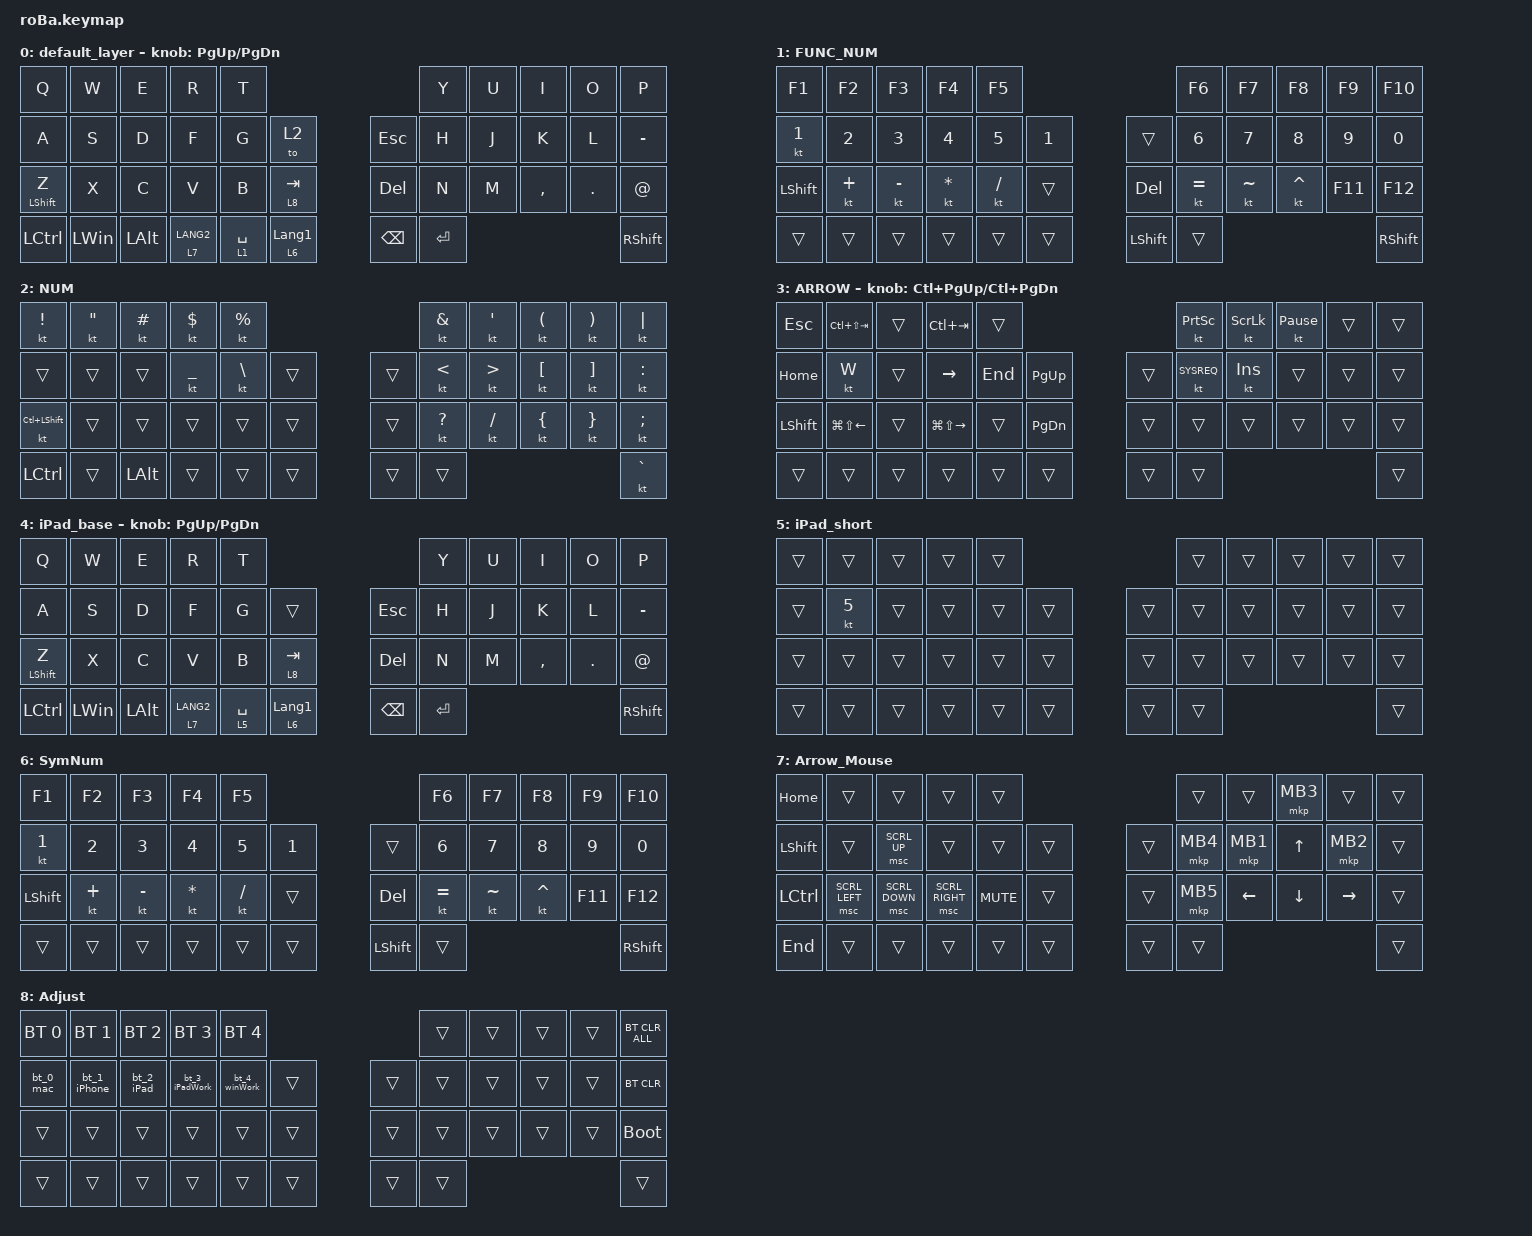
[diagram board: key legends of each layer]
#include <behaviors.dtsi>
#include <dt-bindings/zmk/bt.h>
#include <dt-bindings/zmk/keys.h>
#include <dt-bindings/zmk/pointing.h>

#define MOUSE 4
#define SCROLL 5
#define NUM 6

// OS設定を日本語キーボードのまま使用するための変換定義

#define JP_DQUOTE       AT                // "
#define JP_AMPERSAND    CARET             // &
#define JP_QUOTE        AMPERSAND         // '
#define JP_EQUAL        UNDER             // =
#define JP_CARET        EQUAL             // ^
#define JP_YEN          0x89              // ¥
#define JP_PLUS         COLON             // +
#define JP_TILDE        PLUS              // ~
#define JP_PIPE         LS(0x89)          // |
#define JP_AT           LEFT_BRACKET      // @
#define JP_COLON        SINGLE_QUOTE      // :
#define JP_ASTERISK     DOUBLE_QUOTES     // *
#define JP_BACKQUOTE    LEFT_BRACE        // `
#define JP_UNDERSCORE   LS(0x87)          // _
#define JP_LBRACKET     RIGHT_BRACKET     // [
#define JP_RBRACKET     BACKSLASH         // ]
#define JP_LPAREN       ASTERISK          // (
#define JP_RPAREN       LEFT_PARENTHESIS  // )
#define JP_LBRACE       RIGHT_BRACE       // {
#define JP_RBRACE       PIPE              // }
#define JP_KANA         LANGUAGE_1        // かな
#define JP_EISU         LANGUAGE_2        // 英数
#define JP_HANZEN       GRAVE             // 半角/全角

&mt {
    flavor = "balanced";
    quick-tap-ms = <0>;
};

/ {
    combos {
        compatible = "zmk,combos";

        tab {
            bindings = <&kp TAB>;
            key-positions = <11 12>;
        };

        shift_tab {
            bindings = <&kp LS(TAB)>;
            key-positions = <12 13>;
        };

        muhennkann {
            bindings = <&to_layer_0 INT_MUHENKAN>;
            key-positions = <11 10>;
        };

        double_quotation {
            bindings = <&kp DOUBLE_QUOTES>;
            key-positions = <20 21>;
        };

        eq {
            bindings = <&kp EQUAL>;
            key-positions = <24 25>;
        };

        nihongo {
            bindings = <&kp GRAVE>;
            key-positions = <39 37>;
        };
    };

    macros {
        to_layer_0: to_layer_0 {
            compatible = "zmk,behavior-macro-one-param";
            #binding-cells = <1>;
            bindings = <&to 0 &macro_param_1to1 &kp MACRO_PLACEHOLDER>;
            label = "TO_LAYER_0";
        };

        bt_0_mac: bt_0_mac {
            compatible = "zmk,behavior-macro";
            #binding-cells = <0>;
            bindings = <&bt BT_SEL 0>, <&macro_wait_time 200>, <&to 0>;

            label = "BT_0_MAC";
        };

        bt_1_iPhone: bt_1_iPhone {
            compatible = "zmk,behavior-macro";
            #binding-cells = <0>;
            bindings = <&bt BT_SEL 1>, <&macro_wait_time 200>, <&to 4>;

            label = "BT_1_IPHONE";
        };

        bt_2_iPad: bt_2_iPad {
            compatible = "zmk,behavior-macro";
            #binding-cells = <0>;
            bindings = <&bt BT_SEL 2>, <&macro_wait_time 200>, <&to 4>;

            label = "BT_2_IPAD";
        };

        bt_3_iPadWork: bt_3_iPad {
            compatible = "zmk,behavior-macro";
            #binding-cells = <0>;
            bindings = <&bt BT_SEL 3>, <&macro_wait_time 200>, <&to 4>;

            label = "BT_3_IPAD";
        };

        bt_4_winWork: bt_4_winWork {
            compatible = "zmk,behavior-macro";
            #binding-cells = <0>;
            bindings = <&bt BT_SEL 4>, <&macro_wait_time 200>, <&to 2>;

            label = "BT_4_WINWORK";
        };
    };

    behaviors {
        lt_to_layer_0: lt_to_layer_0 {
            compatible = "zmk,behavior-hold-tap";
            label = "LAYER_TAP_TO_0";
            bindings = <&mo>, <&to_layer_0>;

            #binding-cells = <2>;
            tapping-term-ms = <200>;
        };
    };

    keymap {
        compatible = "zmk,keymap";

        default_layer {
            bindings = <
&kp Q             &kp W         &kp E         &kp R                   &kp T                                                        &kp Y      &kp U  &kp I      &kp O    &kp P
&kp A             &kp S         &kp D         &kp F                   &kp G        &to 2                            &kp ESCAPE     &kp H      &kp J  &kp K      &kp L    &kp MINUS
&mt LEFT_SHIFT Z  &kp X         &kp C         &kp V                   &kp B        &lt 8 TAB                        &kp DELETE     &kp N      &kp M  &kp COMMA  &kp DOT  &kp AT_SIGN
&kp LCTRL         &kp LEFT_WIN  &kp LEFT_ALT  &lt_to_layer_0 7 LANG2  &lt 1 SPACE  &lt_to_layer_0 6 LANGUAGE_1      &kp BACKSPACE  &kp ENTER                             &kp RIGHT_SHIFT
            >;

            sensor-bindings = <&inc_dec_kp PG_UP PAGE_DOWN>;
        };

        FUNC_NUM {
            bindings = <
&kp F1          &kp F2        &kp F3        &kp F4        &kp F5                                       &kp F6        &kp F7     &kp F8     &kp F9   &kp F10
&kt NUMBER_1    &kp NUMBER_2  &kp NUMBER_3  &kp NUMBER_4  &kp N5     &kp NUMBER_1      &trans          &kp NUMBER_6  &kp N7     &kp N8     &kp N9   &kp N0
&kp LEFT_SHIFT  &kt PLUS      &kt MINUS     &kt ASTERISK  &kt SLASH  &trans            &kp DEL         &kt EQUAL     &kt TILDE  &kt CARET  &kp F11  &kp F12
&trans          &trans        &trans        &trans        &trans     &trans            &kp LEFT_SHIFT  &trans                                       &kp RIGHT_SHIFT
            >;
        };

        NUM {
            bindings = <
&kt EXCLAMATION     &kt DOUBLE_QUOTES  &kt HASH      &kt DOLLAR      &kt PERCENT                        &kt AMPERSAND  &kt SQT           &kt LEFT_PARENTHESIS  &kt RIGHT_PARENTHESIS  &kt PIPE
&trans              &trans             &trans        &kt UNDERSCORE  &kt BACKSLASH  &trans      &trans  &kt LESS_THAN  &kt GREATER_THAN  &kt LEFT_BRACKET      &kt RIGHT_BRACKET      &kt COLON
&kt LC(LEFT_SHIFT)  &trans             &trans        &trans          &trans         &trans      &trans  &kt QUESTION   &kt SLASH         &kt LEFT_BRACE        &kt RIGHT_BRACE        &kt SEMICOLON
&kp LCTRL           &trans             &kp LEFT_ALT  &trans          &trans         &trans      &trans  &trans                                                                        &kt GRAVE
            >;
        };

        ARROW {
            bindings = <
&kp ESCAPE      &kp LC(LS(TAB))         &trans  &kp LC(TAB)              &trans                              &kt PRINTSCREEN  &kt SCROLLLOCK  &kt PAUSE_BREAK  &trans  &trans
&kp HOME        &kt W                   &trans  &kp RIGHT_ARROW          &kp END  &kp PAGE_UP        &trans  &kt SYSREQ       &kt INS         &trans           &trans  &trans
&kp LEFT_SHIFT  &kp LG(LS(LEFT_ARROW))  &trans  &kp LG(LS(RIGHT_ARROW))  &trans   &kp PAGE_DOWN      &trans  &trans           &trans          &trans           &trans  &trans
&trans          &trans                  &trans  &trans                   &trans   &trans             &trans  &trans                                                    &trans
            >;

            sensor-bindings = <&inc_dec_kp LC(PAGE_UP) LC(PAGE_DOWN)>;
        };

        iPad_base {
            bindings = <
&kp Q             &kp W         &kp E         &kp R                   &kp T                                                        &kp Y      &kp U  &kp I      &kp O    &kp P
&kp A             &kp S         &kp D         &kp F                   &kp G        &trans                           &kp ESCAPE     &kp H      &kp J  &kp K      &kp L    &kp MINUS
&mt LEFT_SHIFT Z  &kp X         &kp C         &kp V                   &kp B        &lt 8 TAB                        &kp DELETE     &kp N      &kp M  &kp COMMA  &kp DOT  &kp AT_SIGN
&kp LCTRL         &kp LEFT_WIN  &kp LEFT_ALT  &lt_to_layer_0 7 LANG2  &lt 5 SPACE  &lt_to_layer_0 6 LANGUAGE_1      &kp BACKSPACE  &kp ENTER                             &kp RIGHT_SHIFT
            >;

            sensor-bindings = <&inc_dec_kp PG_UP PAGE_DOWN>;
        };

        iPad_short {
            bindings = <
&trans  &trans        &trans  &trans  &trans                      &trans  &trans  &trans  &trans  &trans
&trans  &kt NUMBER_5  &trans  &trans  &trans  &trans      &trans  &trans  &trans  &trans  &trans  &trans
&trans  &trans        &trans  &trans  &trans  &trans      &trans  &trans  &trans  &trans  &trans  &trans
&trans  &trans        &trans  &trans  &trans  &trans      &trans  &trans                          &trans
            >;
        };

        SymNum {
            bindings = <
&kp F1          &kp F2        &kp F3        &kp F4        &kp F5                                       &kp F6        &kp F7     &kp F8     &kp F9   &kp F10
&kt NUMBER_1    &kp NUMBER_2  &kp NUMBER_3  &kp NUMBER_4  &kp N5     &kp NUMBER_1      &trans          &kp NUMBER_6  &kp N7     &kp N8     &kp N9   &kp N0
&kp LEFT_SHIFT  &kt PLUS      &kt MINUS     &kt ASTERISK  &kt SLASH  &trans            &kp DEL         &kt EQUAL     &kt TILDE  &kt CARET  &kp F11  &kp F12
&trans          &trans        &trans        &trans        &trans     &trans            &kp LEFT_SHIFT  &trans                                       &kp RIGHT_SHIFT
            >;
        };

        Arrow_Mouse {
            bindings = <
&kp HOME        &trans          &trans          &trans           &trans                          &trans    &trans          &mkp MB3      &trans           &trans
&kp LEFT_SHIFT  &trans          &msc SCRL_UP    &trans           &trans      &trans      &trans  &mkp MB4  &mkp MB1        &kp UP_ARROW  &mkp MB2         &trans
&kp LCTRL       &msc SCRL_LEFT  &msc SCRL_DOWN  &msc SCRL_RIGHT  &kp K_MUTE  &trans      &trans  &mkp MB5  &kp LEFT_ARROW  &kp DOWN      &kp RIGHT_ARROW  &trans
&kp END         &trans          &trans          &trans           &trans      &trans      &trans  &trans                                                   &trans
            >;
        };

        Adjust {
            bindings = <
&bt BT_SEL 0  &bt BT_SEL 1  &bt BT_SEL 2  &bt BT_SEL 3    &bt BT_SEL 4                       &trans  &trans  &trans  &trans  &bt BT_CLR_ALL
&bt_0_mac     &bt_1_iPhone  &bt_2_iPad    &bt_3_iPadWork  &bt_4_winWork  &trans      &trans  &trans  &trans  &trans  &trans  &bt BT_CLR
&trans        &trans        &trans        &trans          &trans         &trans      &trans  &trans  &trans  &trans  &trans  &bootloader
&trans        &trans        &trans        &trans          &trans         &trans      &trans  &trans                          &trans
            >;
        };
    };
};
